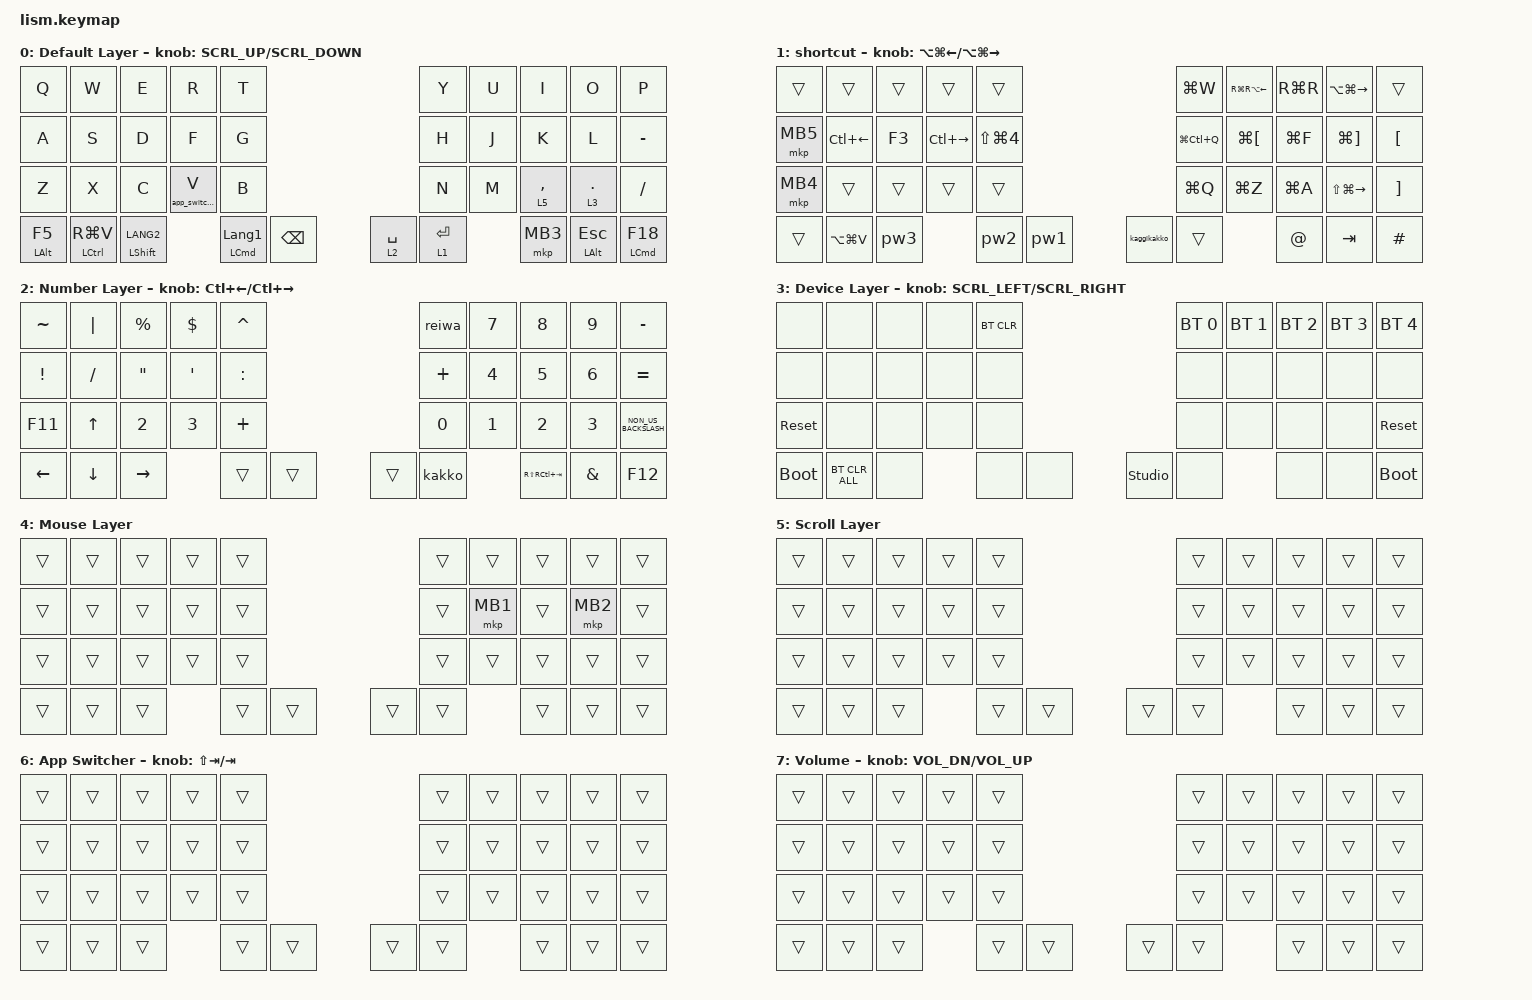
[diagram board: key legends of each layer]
#define ZMK_POINTING_DEFAULT_SCRL_VAL 200

#include <dt-bindings/zmk/mouse.h>
#include <behaviors.dtsi>
#include <dt-bindings/zmk/bt.h>
#include <dt-bindings/zmk/keys.h>
#include <dt-bindings/zmk/pointing.h>

&mt {
    tapping-term-ms = <300>;
    flavor = "balanced";
};

&lt { quick-tap-ms = <300>; };

/ {
    combos {
        compatible = "zmk,combos";

        mouse_left_combo {
            timeout-ms = <45>;
            key-positions = <16 17>;
            layers = <0 4>;
            bindings = <&mkp MB1>;
            slow-release;
        };

        mouse_right_combo {
            timeout-ms = <45>;
            key-positions = <17 18>;
            layers = <0 4>;
            bindings = <&mkp MB2>;
            slow-release;
        };

        volume_encoder_combo {
            timeout-ms = <60>;
            key-positions = <35 36>;
            layers = <0 4>;
            bindings = <&mo 7>;
            slow-release;
        };
    };

    macros {
        kaggikakko: kaggikakko {
            compatible = "zmk,behavior-macro";
            #binding-cells = <0>;
            bindings = <&kp LANGUAGE_1 &kp LEFT_BRACKET &kp RIGHT_BRACKET &kp ENTER &kp LEFT>;
            label = "KAGGIKAKKO";
        };

        kakko: kakko {
            compatible = "zmk,behavior-macro";
            #binding-cells = <0>;
            bindings = <&kp LEFT_PARENTHESIS &kp RIGHT_PARENTHESIS &kp ENTER &kp LEFT_ARROW>;
            label = "KAKKO";
        };

        pw1: pw1 {
            compatible = "zmk,behavior-macro";
            #binding-cells = <0>;
            bindings = <&kp LANG2 &kp N &kp O &kp B &kp U &kp NUMBER_6 &kp N9 &kp N5 &kp N7>;
            label = "PW1";
        };

        pw2: pw2 {
            compatible = "zmk,behavior-macro";
            #binding-cells = <0>;
            bindings = <&kp LANG2 &kp LS(B) &kp A &kp T &kp B &kp NUMBER_3 &kp NUMBER_3 &kp N5 &kp N5 &kp NUMBER_3 &kp NUMBER_3>;
            label = "PW2";
        };

        pw3: pw3 {
            compatible = "zmk,behavior-macro";
            #binding-cells = <0>;
            bindings = <&kp LANG2 &kp LS(B) &kp A &kp T &kp B &kp NUMBER_0 &kp NUMBER_2 &kp NUMBER_1 &kp NUMBER_1>;
            label = "PW3";
        };

        reiwa: reiwa {
            compatible = "zmk,behavior-macro";
            #binding-cells = <0>;
            bindings = <&kp LANGUAGE_1 &kp R &kp E &kp I &kp W &kp A>;
            label = "REIWA";
        };

        app_switcher_hold: app_switcher_hold {
            compatible = "zmk,behavior-macro";
            #binding-cells = <0>;
            bindings =
                <&macro_press>,
                <&mo 6 &kp LCMD>,
                <&macro_pause_for_release>,
                <&macro_release>,
                <&mo 6 &kp LCMD>;

            label = "APP_SWITCHER_HOLD";
        };
    };

    behaviors {
        app_ht: app_hold_tap {
            compatible = "zmk,behavior-hold-tap";
            #binding-cells = <2>;
            tapping-term-ms = <300>;
            flavor = "balanced";
            bindings = <&app_switcher_hold>, <&kp>;
        };

        encoder_msc: sensor_rotate_msc {
            compatible = "zmk,behavior-sensor-rotate-var";
            #sensor-binding-cells = <2>;
            bindings = <&msc>, <&msc>;

            tap-ms = <20>;
        };

        encoder_kp: sensor_rotate_kp {
            compatible = "zmk,behavior-sensor-rotate-var";
            #sensor-binding-cells = <2>;
            bindings = <&kp>, <&kp>;
        };
    };

    keymap {
        compatible = "zmk,keymap";

        default_layer {
            display-name = "Default Layer";
            bindings = <
&kp Q            &kp W                   &kp E                 &kp R                        &kp T                                      &kp Y           &kp U     &kp I             &kp O         &kp P
&kp A            &kp S                   &kp D                 &kp F                        &kp G                                      &kp H           &kp J     &kp K             &kp L         &kp MINUS
&kp Z            &kp X                   &kp C                 &app_ht 0 V                  &kp B                                      &kp N           &kp M     &lt 5 COMMA       &lt 3 PERIOD  &kp SLASH
&mt LEFT_ALT F5  &mt LEFT_CONTROL RG(V)  &mt LEFT_SHIFT LANG2  &mt LEFT_COMMAND LANGUAGE_1  &kp BACKSPACE  &lt 2 SPACE    &lt 1 ENTER  &mkp MB3  &mt LEFT_ALT ESC  &mt LEFT_COMMAND F18
            >;

            sensor-bindings = <&encoder_msc SCRL_UP SCRL_DOWN>;
        };

        layer_1 {
            display-name = "shortcut";
            bindings = <
&trans    &trans         &trans  &trans         &trans                                       &kp LG(W)      &kp RG(RA(LEFT_ARROW))  &kp RG(R)  &kp LA(LG(RIGHT_ARROW))  &trans
&mkp MB5  &kp LC(LEFT)   &kp F3  &kp LC(RIGHT)  &kp LS(LG(NUMBER_4))                         &kp LG(LC(Q))  &kp LG(LEFT_BRACKET)    &kp LG(F)  &kp LG(RIGHT_BRACKET)    &kp LEFT_BRACKET
&mkp MB4  &trans         &trans  &trans         &trans                                       &kp LG(Q)      &kp LG(Z)               &kp LG(A)  &kp LS(LG(RIGHT))        &kp RIGHT_BRACKET
&trans    &kp LA(LG(V))  &pw3    &pw2           &pw1                  &kaggikakko    &trans  &kp AT_SIGN  &kp TAB  &kp HASH
            >;

            sensor-bindings = <&inc_dec_kp LA(LG(LEFT)) LA(LG(RIGHT_ARROW))>;
        };

        layer_2 {
            display-name = "Number Layer";
            bindings = <
&kp TILDE        &kp PIPE        &kp PERCENT        &kp DOLLAR        &kp CARET                    &reiwa        &kp N7           &kp N8         &kp N9        &kp MINUS
&kp EXCLAMATION  &kp SLASH       &kp DOUBLE_QUOTES  &kp SINGLE_QUOTE  &kp COLON                    &kp PLUS      &kp NUMBER_4     &kp N5         &kp NUMBER_6  &kp EQUAL
&kp F11          &kp UP_ARROW    &kp NUMBER_2       &kp NUMBER_3      &kp PLUS                     &kp NUMBER_0  &kp NUMBER_1     &kp NUMBER_2   &kp NUMBER_3  &kp NON_US_BACKSLASH
&kp LEFT_ARROW   &kp DOWN_ARROW  &kp RIGHT_ARROW    &trans            &trans     &trans    &kakko  &kp RS(RC(TAB))  &kp AMPERSAND  &kp F12
            >;

            sensor-bindings = <&inc_dec_kp LC(LEFT) LC(RIGHT)>;
        };

        layer_3 {
            display-name = "Device Layer";
            bindings = <
&none        &none           &none  &none  &bt BT_CLR                           &bt BT_SEL 0  &bt BT_SEL 1  &bt BT_SEL 2  &bt BT_SEL 3  &bt BT_SEL 4
&none        &none           &none  &none  &none                                &none         &none         &none         &none         &none
&sys_reset   &none           &none  &none  &none                                &none         &none         &none         &none         &sys_reset
&bootloader  &bt BT_CLR_ALL  &none  &none  &none       &studio_unlock    &none  &none  &none  &bootloader
            >;

            sensor-bindings = <&encoder_msc SCRL_LEFT SCRL_RIGHT>;
        };

        layer_4 {
            display-name = "Mouse Layer";
            bindings = <
&trans  &trans  &trans  &trans  &trans                    &trans  &trans    &trans  &trans    &trans
&trans  &trans  &trans  &trans  &trans                    &trans  &mkp MB1  &trans  &mkp MB2  &trans
&trans  &trans  &trans  &trans  &trans                    &trans  &trans    &trans  &trans    &trans
&trans  &trans  &trans  &trans  &trans  &trans    &trans  &trans  &trans  &trans
            >;
        };

        layer_5 {
            display-name = "Scroll Layer";
            bindings = <
&trans  &trans  &trans  &trans  &trans                    &trans  &trans  &trans  &trans  &trans
&trans  &trans  &trans  &trans  &trans                    &trans  &trans  &trans  &trans  &trans
&trans  &trans  &trans  &trans  &trans                    &trans  &trans  &trans  &trans  &trans
&trans  &trans  &trans  &trans  &trans  &trans    &trans  &trans  &trans  &trans
            >;
        };

        layer_6 {
            display-name = "App Switcher";
            bindings = <
&trans  &trans  &trans  &trans  &trans                    &trans  &trans  &trans  &trans  &trans
&trans  &trans  &trans  &trans  &trans                    &trans  &trans  &trans  &trans  &trans
&trans  &trans  &trans  &trans  &trans                    &trans  &trans  &trans  &trans  &trans
&trans  &trans  &trans  &trans  &trans  &trans    &trans  &trans  &trans  &trans
            >;

            sensor-bindings = <&encoder_kp LS(TAB) TAB>;
        };

        layer_7 {
            display-name = "Volume";
            bindings = <
&trans  &trans  &trans  &trans  &trans                    &trans  &trans  &trans  &trans  &trans
&trans  &trans  &trans  &trans  &trans                    &trans  &trans  &trans  &trans  &trans
&trans  &trans  &trans  &trans  &trans                    &trans  &trans  &trans  &trans  &trans
&trans  &trans  &trans  &trans  &trans  &trans    &trans  &trans  &trans  &trans
            >;

            sensor-bindings = <&inc_dec_kp C_VOL_DN C_VOL_UP>;
        };
    };
};
